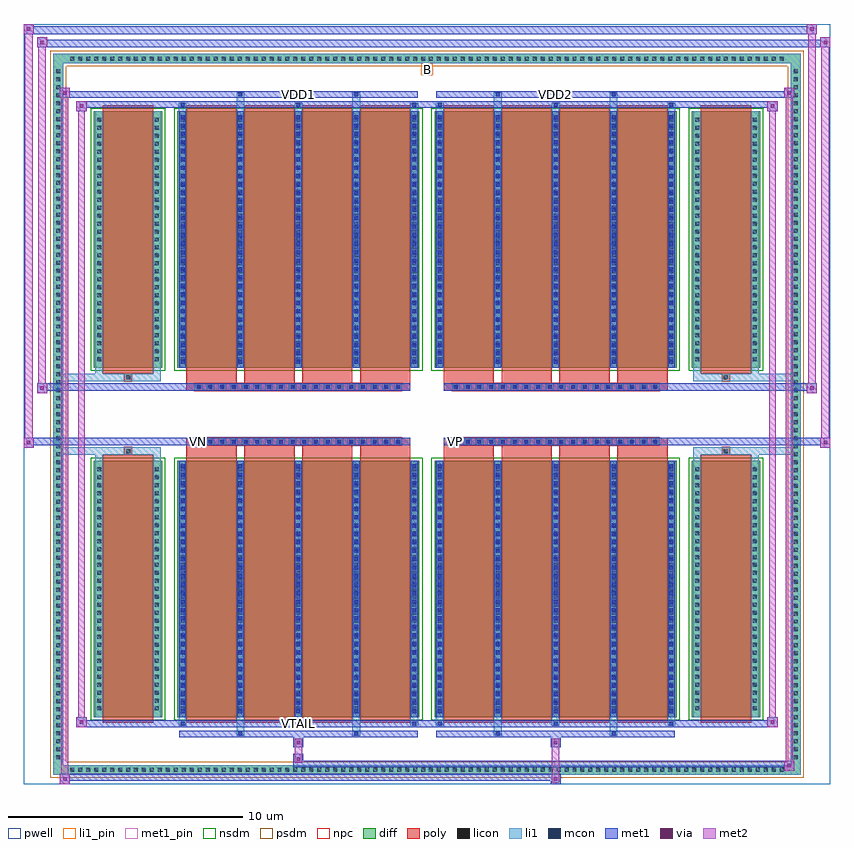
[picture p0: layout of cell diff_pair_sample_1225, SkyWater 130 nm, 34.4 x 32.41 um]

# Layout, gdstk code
import gdstk
lib = gdstk.Library(unit=1e-6, precision=5e-09)
def R(c, l, rs):  # rectangles x0, y0, x1, y1
    for r in rs: c.add(gdstk.rectangle(r[:2], r[2:], *l))
def A(c, l, x, y, w, h, nx, ny, dx, dy):  # array of equal rectangles
    R(c, l, [(x+i*dx, y+j*dy, x+i*dx+w, y+j*dy+h) for i in range(nx) for j in range(ny)])
def P(c, l, *ps):  # polygons
    for p in ps: c.add(gdstk.Polygon(p, *l))
pwell = (64, 44)
diff = (65, 20)
poly = (66, 20)
licon = (66, 44)
li1_pin = (67, 16)
li1 = (67, 20)
mcon = (67, 44)
met1_pin = (68, 16)
met1 = (68, 20)
via = (68, 44)
met2 = (69, 20)
nsdm = (93, 44)
psdm = (94, 20)
npc = (95, 20)

diff_pair_sample_1225 = lib.new_cell('diff_pair_sample_1225')
R(diff_pair_sample_1225, pwell, [(-17.2,-15.77,17.2,16.64), (-14.52,-13.96,-0.01,-0.8), (0.01,-13.96,14.52,-0.8), (-14.52,0.8,-0.01,13.96), (0.01,0.8,14.52,13.96)])
A(diff_pair_sample_1225, diff, -15.335, -15.37, 0.41, 0.41, 90, 2, 0.34, 30.33)
A(diff_pair_sample_1225, diff, -15.93, -14.825, 0.41, 0.41, 1, 87, 0, 0.34)
A(diff_pair_sample_1225, diff, 15.52, -14.825, 0.41, 0.41, 1, 87, 0, 0.34)
R(diff_pair_sample_1225, diff, [(-15.335,-15.37,15.335,-14.96), (-15.93,-14.825,-15.52,14.825), (15.52,-14.825,15.93,14.825), (-14.21,-12.915,-11.29,-1.985), (-10.65,-12.915,-0.32,-1.985), (0.32,-12.915,10.65,-1.985), (11.29,-12.915,14.21,-1.985), (-14.21,1.985,-11.29,12.915), (-10.65,1.985,-0.32,12.915), (0.32,1.985,10.65,12.915), (11.29,1.985,14.21,12.915), (-15.335,14.96,15.335,15.37)])
P(diff_pair_sample_1225, diff, [(15.93,15.37),(-15.93,15.37),(-15.93,-14.96),(-15.52,-14.96),(-15.52,14.96),(15.52,14.96),(15.52,-14.96),(-15.52,-14.96),(-15.93,-14.96),(-15.93,-15.37),(15.93,-15.37)])
A(diff_pair_sample_1225, poly, -10.26, -13.165, 2.14, 11.43, 4, 2, 2.47, 14.9)
A(diff_pair_sample_1225, poly, 0.71, -13.165, 2.14, 11.43, 4, 2, 2.47, 14.9)
A(diff_pair_sample_1225, poly, -10.26, -1.735, 2.14, 0.405, 4, 2, 2.47, 3.065)
A(diff_pair_sample_1225, poly, 0.71, -1.735, 2.14, 0.405, 4, 2, 2.47, 3.065)
A(diff_pair_sample_1225, poly, -9.9, -1.33, 0.33, 0.33, 18, 2, 0.5, 2.33)
A(diff_pair_sample_1225, poly, 1.07, -1.33, 0.33, 0.33, 18, 2, 0.5, 2.33)
R(diff_pair_sample_1225, poly, [(-13.82,-13.165,-11.68,-1.735), (11.68,-13.165,13.82,-1.735), (-12.915,-1.735,-12.585,-1.405), (-12.915,-1.735,-12.585,-1.405), (12.585,-1.735,12.915,-1.405), (12.585,-1.735,12.915,-1.405), (-10.26,-1.33,-0.71,-1), (0.71,-1.33,10.26,-1), (-10.26,1,-0.71,1.33), (0.71,1,10.26,1.33), (-12.915,1.405,-12.585,1.735), (-12.915,1.405,-12.585,1.735), (12.585,1.405,12.915,1.735), (12.585,1.405,12.915,1.735), (-13.82,1.735,-11.68,13.165), (11.68,1.735,13.82,13.165)])
A(diff_pair_sample_1225, licon, -15.215, -15.25, 0.17, 0.17, 90, 2, 0.34, 30.33)
A(diff_pair_sample_1225, licon, -15.81, -14.705, 0.17, 0.17, 1, 87, 0, 0.34)
A(diff_pair_sample_1225, licon, 15.64, -14.705, 0.17, 0.17, 1, 87, 0, 0.34)
A(diff_pair_sample_1225, licon, -14.07, -12.635, 0.17, 0.17, 1, 31, 0, 0.34)
A(diff_pair_sample_1225, licon, -11.6, -12.635, 0.17, 0.17, 1, 31, 0, 0.34)
A(diff_pair_sample_1225, licon, -10.51, -12.635, 0.17, 0.17, 5, 31, 2.47, 0.34)
A(diff_pair_sample_1225, licon, 0.46, -12.635, 0.17, 0.17, 5, 31, 2.47, 0.34)
A(diff_pair_sample_1225, licon, 11.43, -12.635, 0.17, 0.17, 1, 31, 0, 0.34)
A(diff_pair_sample_1225, licon, 13.9, -12.635, 0.17, 0.17, 1, 31, 0, 0.34)
A(diff_pair_sample_1225, licon, -9.82, -1.25, 0.17, 0.17, 18, 2, 0.5, 2.33)
A(diff_pair_sample_1225, licon, 1.15, -1.25, 0.17, 0.17, 18, 2, 0.5, 2.33)
A(diff_pair_sample_1225, licon, -14.07, 2.265, 0.17, 0.17, 1, 31, 0, 0.34)
A(diff_pair_sample_1225, licon, -11.6, 2.265, 0.17, 0.17, 1, 31, 0, 0.34)
A(diff_pair_sample_1225, licon, -10.51, 2.265, 0.17, 0.17, 5, 31, 2.47, 0.34)
A(diff_pair_sample_1225, licon, 0.46, 2.265, 0.17, 0.17, 5, 31, 2.47, 0.34)
A(diff_pair_sample_1225, licon, 11.43, 2.265, 0.17, 0.17, 1, 31, 0, 0.34)
A(diff_pair_sample_1225, licon, 13.9, 2.265, 0.17, 0.17, 1, 31, 0, 0.34)
R(diff_pair_sample_1225, licon, [(-12.835,-1.655,-12.665,-1.485), (12.665,-1.655,12.835,-1.485), (-12.835,1.485,-12.665,1.655), (12.665,1.485,12.835,1.655)])
R(diff_pair_sample_1225, li1_pin, [(-0.25,14.46,0.25,14.96)])
A(diff_pair_sample_1225, li1, -15.295, -15.33, 0.33, 0.33, 90, 2, 0.34, 30.33)
A(diff_pair_sample_1225, li1, -15.89, -14.785, 0.33, 0.33, 1, 87, 0, 0.34)
A(diff_pair_sample_1225, li1, 15.56, -14.785, 0.33, 0.33, 1, 87, 0, 0.34)
A(diff_pair_sample_1225, li1, -10.59, -13.29, 0.33, 0.375, 3, 2, 4.94, 26.205)
A(diff_pair_sample_1225, li1, -10.51, -13.29, 0.17, 0.17, 3, 2, 4.94, 26.41)
A(diff_pair_sample_1225, li1, 0.38, -13.29, 0.33, 0.375, 3, 2, 4.94, 26.205)
A(diff_pair_sample_1225, li1, 0.46, -13.29, 0.17, 0.17, 3, 2, 4.94, 26.41)
A(diff_pair_sample_1225, li1, -10.59, -12.915, 0.33, 10.93, 5, 2, 2.47, 14.9)
A(diff_pair_sample_1225, li1, 0.38, -12.915, 0.33, 10.93, 5, 2, 2.47, 14.9)
A(diff_pair_sample_1225, li1, -10.51, -12.755, 0.17, 0.17, 5, 30, 2.47, 0.36)
A(diff_pair_sample_1225, li1, -10.51, -12.755, 0.17, 10.61, 5, 2, 2.47, 14.9)
A(diff_pair_sample_1225, li1, 0.46, -12.755, 0.17, 0.17, 5, 30, 2.47, 0.36)
A(diff_pair_sample_1225, li1, 0.46, -12.755, 0.17, 10.61, 5, 2, 2.47, 14.9)
A(diff_pair_sample_1225, li1, -14.15, -12.715, 0.33, 0.33, 1, 31, 0, 0.34)
A(diff_pair_sample_1225, li1, -11.68, -12.715, 0.33, 0.33, 1, 31, 0, 0.34)
A(diff_pair_sample_1225, li1, -10.59, -12.715, 0.33, 0.33, 5, 31, 2.47, 0.34)
A(diff_pair_sample_1225, li1, 0.38, -12.715, 0.33, 0.33, 5, 31, 2.47, 0.34)
A(diff_pair_sample_1225, li1, 11.35, -12.715, 0.33, 0.33, 1, 31, 0, 0.34)
A(diff_pair_sample_1225, li1, 13.82, -12.715, 0.33, 0.33, 1, 31, 0, 0.34)
A(diff_pair_sample_1225, li1, -9.9, -1.33, 0.33, 0.33, 18, 2, 0.5, 2.33)
A(diff_pair_sample_1225, li1, 1.07, -1.33, 0.33, 0.33, 18, 2, 0.5, 2.33)
A(diff_pair_sample_1225, li1, -10.51, 2.145, 0.17, 0.17, 5, 30, 2.47, 0.36)
A(diff_pair_sample_1225, li1, 0.46, 2.145, 0.17, 0.17, 5, 30, 2.47, 0.36)
A(diff_pair_sample_1225, li1, -14.15, 2.185, 0.33, 0.33, 1, 31, 0, 0.34)
A(diff_pair_sample_1225, li1, -11.68, 2.185, 0.33, 0.33, 1, 31, 0, 0.34)
A(diff_pair_sample_1225, li1, -10.59, 2.185, 0.33, 0.33, 5, 31, 2.47, 0.34)
A(diff_pair_sample_1225, li1, 0.38, 2.185, 0.33, 0.33, 5, 31, 2.47, 0.34)
A(diff_pair_sample_1225, li1, 11.35, 2.185, 0.33, 0.33, 1, 31, 0, 0.34)
A(diff_pair_sample_1225, li1, 13.82, 2.185, 0.33, 0.33, 1, 31, 0, 0.34)
R(diff_pair_sample_1225, li1, [(-15.93,-15.37,-15.52,-14.96), (-15.93,-15.37,-15.52,-14.96), (-15.52,-15.37,15.52,-14.96), (15.52,-15.37,15.93,-14.96), (15.52,-15.37,15.93,-14.96), (-15.93,-14.96,-15.52,14.96), (15.52,-14.96,15.93,14.96), (-8.12,-13.72,-7.79,-12.915), (-8.04,-13.72,-7.87,-13.55), (-3.18,-13.72,-2.85,-12.915), (-3.1,-13.72,-2.93,-13.55), (2.85,-13.72,3.18,-12.915), (2.93,-13.72,3.1,-13.55), (7.79,-13.72,8.12,-12.915), (7.87,-13.72,8.04,-13.55), (-14.15,-12.915,-13.82,-1.985), (-11.68,-12.915,-11.35,-1.985), (11.35,-12.915,11.68,-1.985), (13.82,-12.915,14.15,-1.985), (-14.15,-1.985,-13.82,-1.405), (-11.68,-1.985,-11.35,-1.405), (11.35,-1.985,11.68,-1.405), (13.82,-1.985,14.15,-1.405), (-15.93,-1.735,-12.915,-1.405), (-14.15,-1.735,-12.915,-1.405), (-12.915,-1.735,-12.585,-1.405), (-12.585,-1.735,-11.35,-1.405), (11.35,-1.735,12.585,-1.405), (12.585,-1.735,12.915,-1.405), (12.585,-1.735,15.93,-1.405), (12.915,-1.735,14.15,-1.405), (-15.93,1.405,-12.915,1.735), (-14.15,1.405,-12.915,1.735), (-14.15,1.405,-13.82,1.985), (-12.915,1.405,-12.585,1.735), (-12.585,1.405,-11.35,1.735), (-11.68,1.405,-11.35,1.985), (11.35,1.405,12.585,1.735), (11.35,1.405,11.68,1.985), (12.585,1.405,12.915,1.735), (12.585,1.405,15.93,1.735), (12.915,1.405,14.15,1.735), (13.82,1.405,14.15,1.985), (-14.15,1.985,-13.82,12.915), (-11.68,1.985,-11.35,12.915), (11.35,1.985,11.68,12.915), (13.82,1.985,14.15,12.915), (-8.12,12.915,-7.79,13.72), (-3.18,12.915,-2.85,13.72), (2.85,12.915,3.18,13.72), (7.79,12.915,8.12,13.72), (-8.04,13.55,-7.87,13.72), (-3.1,13.55,-2.93,13.72), (2.93,13.55,3.1,13.72), (7.87,13.55,8.04,13.72), (-15.93,14.96,-15.52,15.37), (-15.93,14.96,-15.52,15.37), (-15.52,14.96,15.52,15.37), (15.52,14.96,15.93,15.37), (15.52,14.96,15.93,15.37)])
A(diff_pair_sample_1225, mcon, -10.51, -13.29, 0.17, 0.17, 3, 2, 4.94, 26.41)
A(diff_pair_sample_1225, mcon, 0.46, -13.29, 0.17, 0.17, 3, 2, 4.94, 26.41)
A(diff_pair_sample_1225, mcon, -10.51, -12.755, 0.17, 0.17, 5, 30, 2.47, 0.36)
A(diff_pair_sample_1225, mcon, 0.46, -12.755, 0.17, 0.17, 5, 30, 2.47, 0.36)
A(diff_pair_sample_1225, mcon, -9.82, -1.25, 0.17, 0.17, 18, 2, 0.5, 2.33)
A(diff_pair_sample_1225, mcon, 1.15, -1.25, 0.17, 0.17, 18, 2, 0.5, 2.33)
A(diff_pair_sample_1225, mcon, -10.51, 2.145, 0.17, 0.17, 5, 30, 2.47, 0.36)
A(diff_pair_sample_1225, mcon, 0.46, 2.145, 0.17, 0.17, 5, 30, 2.47, 0.36)
R(diff_pair_sample_1225, mcon, [(-8.04,-13.72,-7.87,-13.55), (-3.1,-13.72,-2.93,-13.55), (2.93,-13.72,3.1,-13.55), (7.87,-13.72,8.04,-13.55), (-8.04,13.55,-7.87,13.72), (-3.1,13.55,-2.93,13.72), (2.93,13.55,3.1,13.72), (7.87,13.55,8.04,13.72)])
R(diff_pair_sample_1225, met1_pin, [(-5.62,-13.33,-5.35,-13.06), (-9.87,-1.29,-9.6,-1.02), (1.1,-1.29,1.37,-1.02), (-5.62,13.51,-5.35,13.78), (5.35,13.51,5.62,13.78)])
A(diff_pair_sample_1225, met1, -10.57, -13.35, 0.29, 0.29, 3, 2, 4.94, 26.41)
A(diff_pair_sample_1225, met1, 0.4, -13.35, 0.29, 0.29, 3, 2, 4.94, 26.41)
A(diff_pair_sample_1225, met1, -10.57, -12.915, 0.29, 10.93, 5, 2, 2.47, 14.9)
A(diff_pair_sample_1225, met1, 0.4, -12.915, 0.29, 10.93, 5, 2, 2.47, 14.9)
A(diff_pair_sample_1225, met1, -10.57, -12.815, 0.29, 0.29, 5, 30, 2.47, 0.36)
A(diff_pair_sample_1225, met1, 0.4, -12.815, 0.29, 0.29, 5, 30, 2.47, 0.36)
A(diff_pair_sample_1225, met1, -9.88, -1.31, 0.29, 0.29, 18, 2, 0.5, 2.33)
A(diff_pair_sample_1225, met1, 1.09, -1.31, 0.29, 0.29, 18, 2, 0.5, 2.33)
A(diff_pair_sample_1225, met1, -10.57, 2.085, 0.29, 0.29, 5, 30, 2.47, 0.36)
A(diff_pair_sample_1225, met1, 0.4, 2.085, 0.29, 0.29, 5, 30, 2.47, 0.36)
R(diff_pair_sample_1225, met1, [(-15.66,-15.77,-15.23,-15.34), (5.27,-15.77,5.7,-15.34), (-15.66,-15.63,5.7,-15.34), (15.23,-15.2,15.66,-14.77), (-5.7,-15.06,15.66,-14.77), (-5.7,-14.92,-5.27,-14.49), (-5.7,-14.21,-5.27,-13.78), (5.27,-14.21,5.7,-13.78), (-10.57,-13.78,-0.4,-13.49), (-8.1,-13.78,-7.81,-13.49), (-3.16,-13.78,-2.87,-13.49), (0.4,-13.78,10.57,-13.49), (2.87,-13.78,3.16,-13.49), (7.81,-13.78,8.1,-13.49), (-14.95,-13.35,-14.52,-12.92), (-14.95,-13.35,-10.57,-13.06), (-10.57,-13.35,-0.4,-13.06), (-0.4,-13.35,0.4,-13.06), (0.4,-13.35,10.57,-13.06), (10.57,-13.35,14.95,-13.06), (14.52,-13.35,14.95,-12.92), (-17.2,-1.43,-16.77,-1), (16.77,-1.43,17.2,-1), (-17.2,-1.33,-0.71,-1), (-10.26,-1.33,-0.71,-1), (0.71,-1.33,10.26,-1), (0.71,-1.33,17.2,-1), (-16.63,0.9,-16.2,1.33), (16.2,0.9,16.63,1.33), (-16.63,1,-10.26,1.33), (-10.26,1,-0.71,1.33), (0.71,1,10.26,1.33), (10.26,1,16.63,1.33), (-14.95,12.92,-14.52,13.35), (14.52,12.92,14.95,13.35), (-14.95,13.06,-10.57,13.35), (-10.57,13.06,-0.4,13.35), (-0.4,13.06,0.4,13.35), (0.4,13.06,10.57,13.35), (10.57,13.06,14.95,13.35), (-15.66,13.49,-15.23,13.92), (-15.66,13.49,-10.57,13.78), (-10.57,13.49,-0.4,13.78), (-8.1,13.49,-7.81,13.78), (-3.16,13.49,-2.87,13.78), (0.4,13.49,10.57,13.78), (2.87,13.49,3.16,13.78), (7.81,13.49,8.1,13.78), (10.57,13.49,15.66,13.78), (15.23,13.49,15.66,13.92), (-16.63,15.64,-16.2,16.07), (-16.63,15.64,-14.52,15.97), (-14.52,15.64,14.52,15.97), (14.52,15.64,17.2,15.97), (16.77,15.64,17.2,16.07), (-17.2,16.21,-16.77,16.64), (-17.2,16.21,-14.52,16.54), (-14.52,16.21,14.52,16.54), (14.52,16.21,16.63,16.54), (16.2,16.21,16.63,16.64)])
R(diff_pair_sample_1225, via, [(-15.52,-15.63,-15.37,-15.48), (5.41,-15.63,5.56,-15.48), (15.37,-15.06,15.52,-14.91), (-5.56,-14.78,-5.41,-14.63), (-5.56,-14.07,-5.41,-13.92), (5.41,-14.07,5.56,-13.92), (-14.81,-13.21,-14.66,-13.06), (14.66,-13.21,14.81,-13.06), (-17.06,-1.29,-16.91,-1.14), (16.91,-1.29,17.06,-1.14), (-16.49,1.04,-16.34,1.19), (16.34,1.04,16.49,1.19), (-14.81,13.06,-14.66,13.21), (14.66,13.06,14.81,13.21), (-15.52,13.63,-15.37,13.78), (15.37,13.63,15.52,13.78), (-16.49,15.78,-16.34,15.93), (16.91,15.78,17.06,15.93), (-17.06,16.35,-16.91,16.5), (16.34,16.35,16.49,16.5)])
R(diff_pair_sample_1225, met2, [(-15.66,-15.77,-15.23,-15.34), (-15.59,-15.77,-15.3,13.92), (-15.3,-15.77,-15.23,-15.34), (-15.61,-15.72,-15.28,-15.39), (5.32,-15.72,5.65,-15.39), (5.32,-15.39,5.65,-14.16), (15.23,-15.2,15.66,-14.77), (15.3,-15.2,15.59,13.92), (15.59,-15.2,15.66,-14.77), (15.28,-15.15,15.61,-14.82), (-5.65,-14.87,-5.32,-14.54), (-5.65,-14.54,-5.32,-14.16), (-5.65,-14.16,-5.32,-13.83), (5.32,-14.16,5.65,-13.83), (-14.95,-13.35,-14.52,-12.92), (-14.88,-13.35,-14.59,13.35), (-14.59,-13.35,-14.52,-12.92), (14.52,-13.35,14.95,-12.92), (14.59,-13.35,14.88,13.35), (14.88,-13.35,14.95,-12.92), (-14.9,-13.3,-14.57,-12.97), (14.57,-13.3,14.9,-12.97), (-17.2,-1.43,-16.77,-1), (-17.15,-1.43,-16.82,16.64), (-16.82,-1.43,-16.77,-1), (16.77,-1.43,17.2,-1), (16.82,-1.43,17.15,16.07), (17.15,-1.43,17.2,-1), (-17.15,-1.38,-16.82,-1.05), (16.82,-1.38,17.15,-1.05), (-16.63,0.9,-16.2,1.33), (-16.58,0.9,-16.25,16.07), (-16.25,0.9,-16.2,1.33), (16.2,0.9,16.63,1.33), (16.25,0.9,16.58,16.64), (16.58,0.9,16.63,1.33), (-16.58,0.95,-16.25,1.28), (16.25,0.95,16.58,1.28), (-14.95,12.92,-14.52,13.35), (-14.59,12.92,-14.52,13.35), (14.52,12.92,14.95,13.35), (14.88,12.92,14.95,13.35), (-14.9,12.97,-14.57,13.3), (14.57,12.97,14.9,13.3), (-15.66,13.49,-15.23,13.92), (-15.3,13.49,-15.23,13.92), (15.23,13.49,15.66,13.92), (15.59,13.49,15.66,13.92), (-15.61,13.54,-15.28,13.87), (15.28,13.54,15.61,13.87), (-16.63,15.64,-16.2,16.07), (-16.25,15.64,-16.2,16.07), (16.77,15.64,17.2,16.07), (17.15,15.64,17.2,16.07), (-16.58,15.69,-16.25,16.02), (16.82,15.69,17.15,16.02), (-17.2,16.21,-16.77,16.64), (-16.82,16.21,-16.77,16.64), (16.2,16.21,16.63,16.64), (16.58,16.21,16.63,16.64), (-17.15,16.26,-16.82,16.59), (16.25,16.26,16.58,16.59)])
R(diff_pair_sample_1225, nsdm, [(-14.34,-13.045,-11.16,-1.855), (-10.78,-13.045,-0.19,-1.855), (0.19,-13.045,10.78,-1.855), (11.16,-13.045,14.34,-1.855), (-14.34,1.855,-11.16,13.045), (-10.78,1.855,-0.19,13.045), (0.19,1.855,10.78,13.045), (11.16,1.855,14.34,13.045)])
P(diff_pair_sample_1225, psdm, [(16.06,15.5),(-16.06,15.5),(-16.06,-14.83),(-15.39,-14.83),(-15.39,14.83),(15.39,14.83),(15.39,-14.83),(-15.39,-14.83),(-16.06,-14.83),(-16.06,-15.5),(16.06,-15.5)])
A(diff_pair_sample_1225, npc, -9.92, -1.35, 0.37, 0.37, 18, 2, 0.5, 2.33)
A(diff_pair_sample_1225, npc, 1.05, -1.35, 0.37, 0.37, 18, 2, 0.5, 2.33)
R(diff_pair_sample_1225, npc, [(-12.935,-1.755,-12.565,-1.385), (12.565,-1.755,12.935,-1.385), (-9.92,-1.35,-9.05,-0.98), (-9.92,-1.35,-9.05,-0.98), (-9.42,-1.35,-8.55,-0.98), (-9.42,-1.35,-8.55,-0.98), (-8.92,-1.35,-8.05,-0.98), (-8.92,-1.35,-8.05,-0.98), (-8.42,-1.35,-7.55,-0.98), (-8.42,-1.35,-7.55,-0.98), (-7.92,-1.35,-7.05,-0.98), (-7.92,-1.35,-7.05,-0.98), (-7.42,-1.35,-6.55,-0.98), (-7.42,-1.35,-6.55,-0.98), (-6.92,-1.35,-6.05,-0.98), (-6.92,-1.35,-6.05,-0.98), (-6.42,-1.35,-5.55,-0.98), (-6.42,-1.35,-5.55,-0.98), (-5.92,-1.35,-5.05,-0.98), (-5.92,-1.35,-5.05,-0.98), (-5.42,-1.35,-4.55,-0.98), (-5.42,-1.35,-4.55,-0.98), (-4.92,-1.35,-4.05,-0.98), (-4.92,-1.35,-4.05,-0.98), (-4.42,-1.35,-3.55,-0.98), (-4.42,-1.35,-3.55,-0.98), (-3.92,-1.35,-3.05,-0.98), (-3.92,-1.35,-3.05,-0.98), (-3.42,-1.35,-2.55,-0.98), (-3.42,-1.35,-2.55,-0.98), (-2.92,-1.35,-2.05,-0.98), (-2.92,-1.35,-2.05,-0.98), (-2.42,-1.35,-1.55,-0.98), (-2.42,-1.35,-1.55,-0.98), (-1.92,-1.35,-1.05,-0.98), (-1.92,-1.35,-1.05,-0.98), (1.05,-1.35,1.92,-0.98), (1.05,-1.35,1.92,-0.98), (1.55,-1.35,2.42,-0.98), (1.55,-1.35,2.42,-0.98), (2.05,-1.35,2.92,-0.98), (2.05,-1.35,2.92,-0.98), (2.55,-1.35,3.42,-0.98), (2.55,-1.35,3.42,-0.98), (3.05,-1.35,3.92,-0.98), (3.05,-1.35,3.92,-0.98), (3.55,-1.35,4.42,-0.98), (3.55,-1.35,4.42,-0.98), (4.05,-1.35,4.92,-0.98), (4.05,-1.35,4.92,-0.98), (4.55,-1.35,5.42,-0.98), (4.55,-1.35,5.42,-0.98), (5.05,-1.35,5.92,-0.98), (5.05,-1.35,5.92,-0.98), (5.55,-1.35,6.42,-0.98), (5.55,-1.35,6.42,-0.98), (6.05,-1.35,6.92,-0.98), (6.05,-1.35,6.92,-0.98), (6.55,-1.35,7.42,-0.98), (6.55,-1.35,7.42,-0.98), (7.05,-1.35,7.92,-0.98), (7.05,-1.35,7.92,-0.98), (7.55,-1.35,8.42,-0.98), (7.55,-1.35,8.42,-0.98), (8.05,-1.35,8.92,-0.98), (8.05,-1.35,8.92,-0.98), (8.55,-1.35,9.42,-0.98), (8.55,-1.35,9.42,-0.98), (9.05,-1.35,9.92,-0.98), (9.05,-1.35,9.92,-0.98), (-9.92,0.98,-9.05,1.35), (-9.92,0.98,-9.05,1.35), (-9.42,0.98,-8.55,1.35), (-9.42,0.98,-8.55,1.35), (-8.92,0.98,-8.05,1.35), (-8.92,0.98,-8.05,1.35), (-8.42,0.98,-7.55,1.35), (-8.42,0.98,-7.55,1.35), (-7.92,0.98,-7.05,1.35), (-7.92,0.98,-7.05,1.35), (-7.42,0.98,-6.55,1.35), (-7.42,0.98,-6.55,1.35), (-6.92,0.98,-6.05,1.35), (-6.92,0.98,-6.05,1.35), (-6.42,0.98,-5.55,1.35), (-6.42,0.98,-5.55,1.35), (-5.92,0.98,-5.05,1.35), (-5.92,0.98,-5.05,1.35), (-5.42,0.98,-4.55,1.35), (-5.42,0.98,-4.55,1.35), (-4.92,0.98,-4.05,1.35), (-4.92,0.98,-4.05,1.35), (-4.42,0.98,-3.55,1.35), (-4.42,0.98,-3.55,1.35), (-3.92,0.98,-3.05,1.35), (-3.92,0.98,-3.05,1.35), (-3.42,0.98,-2.55,1.35), (-3.42,0.98,-2.55,1.35), (-2.92,0.98,-2.05,1.35), (-2.92,0.98,-2.05,1.35), (-2.42,0.98,-1.55,1.35), (-2.42,0.98,-1.55,1.35), (-1.92,0.98,-1.05,1.35), (-1.92,0.98,-1.05,1.35), (1.05,0.98,1.92,1.35), (1.05,0.98,1.92,1.35), (1.55,0.98,2.42,1.35), (1.55,0.98,2.42,1.35), (2.05,0.98,2.92,1.35), (2.05,0.98,2.92,1.35), (2.55,0.98,3.42,1.35), (2.55,0.98,3.42,1.35), (3.05,0.98,3.92,1.35), (3.05,0.98,3.92,1.35), (3.55,0.98,4.42,1.35), (3.55,0.98,4.42,1.35), (4.05,0.98,4.92,1.35), (4.05,0.98,4.92,1.35), (4.55,0.98,5.42,1.35), (4.55,0.98,5.42,1.35), (5.05,0.98,5.92,1.35), (5.05,0.98,5.92,1.35), (5.55,0.98,6.42,1.35), (5.55,0.98,6.42,1.35), (6.05,0.98,6.92,1.35), (6.05,0.98,6.92,1.35), (6.55,0.98,7.42,1.35), (6.55,0.98,7.42,1.35), (7.05,0.98,7.92,1.35), (7.05,0.98,7.92,1.35), (7.55,0.98,8.42,1.35), (7.55,0.98,8.42,1.35), (8.05,0.98,8.92,1.35), (8.05,0.98,8.92,1.35), (8.55,0.98,9.42,1.35), (8.55,0.98,9.42,1.35), (9.05,0.98,9.92,1.35), (9.05,0.98,9.92,1.35), (-12.935,1.385,-12.565,1.755), (12.565,1.385,12.935,1.755)])
diff_pair_sample_1225.add(gdstk.Label('VTAIL', (-5.485,-13.195), layer=68, texttype=5))
diff_pair_sample_1225.add(gdstk.Label('VN', (-9.735,-1.155), layer=68, texttype=5))
diff_pair_sample_1225.add(gdstk.Label('VP', (1.235,-1.155), layer=68, texttype=5))
diff_pair_sample_1225.add(gdstk.Label('B', (0,14.71), layer=67, texttype=5))
diff_pair_sample_1225.add(gdstk.Label('VDD2', (5.485,13.645), layer=68, texttype=5))
diff_pair_sample_1225.add(gdstk.Label('VDD1', (-5.485,13.645), layer=68, texttype=5))

lib.write_gds('diff_pair_sample_1225.gds')
